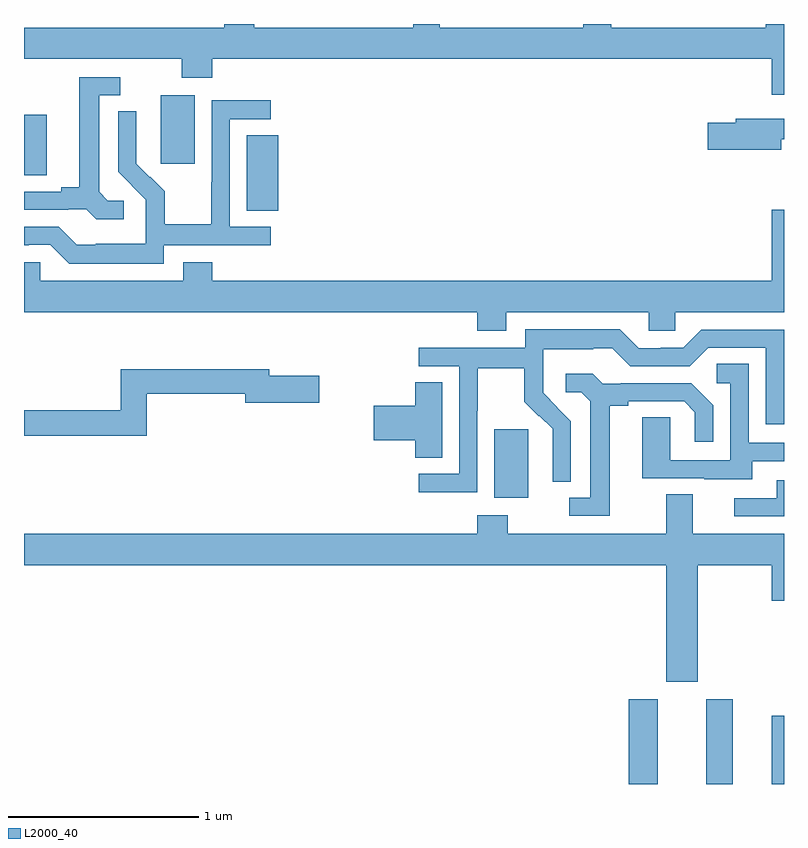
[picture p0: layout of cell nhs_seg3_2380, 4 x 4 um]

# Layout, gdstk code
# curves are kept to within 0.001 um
import gdstk
lib = gdstk.Library(unit=1e-6, precision=1e-09)
def R(c, l, rs):  # rectangles x0, y0, x1, y1
    for r in rs: c.add(gdstk.rectangle(r[:2], r[2:], *l))
def P(c, l, *ps):  # polygons
    for p in ps: c.add(gdstk.Polygon(p, *l))
L2000_40 = (2000, 40)

nhs_seg3_2380 = lib.new_cell('nhs_seg3_2380')
R(nhs_seg3_2380, L2000_40, [(236.183,730.4,236.335,730.846), (236.591,730.4,236.731,730.846), (236.936,730.4,237,730.759), (235.475,731.906,235.654,732.267), (234.173,733.417,234.337,733.814), (233,733.603,233.119,733.923), (233.72,733.665,233.899,734.026)])
P(nhs_seg3_2380, L2000_40, [(237,734.4),(236.904,734.4),(236.904,734.38),(236.091,734.38),(236.091,734.4),(235.943,734.4),(235.943,734.38),(235.189,734.38),(235.189,734.4),(235.049,734.4),(235.049,734.38),(234.213,734.38),(234.213,734.4),(234.053,734.4),(234.053,734.38),(233,734.38),(233,734.216),(233.83,734.216),(233.83,734.117),(233.99,734.117),(233.99,734.216),(236.936,734.216),(236.936,734.028),(237,734.028)],
  [(233.524,733.47),(233.442,733.47),(233.395,733.517),(233.395,734.025),(233.506,734.025),(233.506,734.121),(233.291,734.121),(233.291,733.541),(233.195,733.541),(233.195,733.518),(233,733.518),(233,733.422),(233.234,733.422),(233.234,733.425),(233.328,733.425),(233.38,733.373),(233.524,733.373)],
  [(233.736,733.236),(234.298,733.236),(234.298,733.332),(234.084,733.332),(234.084,733.899),(234.298,733.899),(234.298,733.998),(233.988,733.998),(233.988,733.568),(233.986,733.568),(233.986,733.345),(233.741,733.345),(233.741,733.519),(233.664,733.596),(233.661,733.593),(233.591,733.664),(233.592,733.94),(233.496,733.94),(233.496,733.622),(233.642,733.474),(233.642,733.377),(233.64,733.377),(233.64,733.243),(233.377,733.243),(233.377,733.239),(233.277,733.239),(233.184,733.332),(233,733.332),(233,733.236),(233.024,733.236),(233.024,733.239),(233.139,733.239),(233.239,733.139),(233.736,733.139)],
  [(236.986,733.794),(237,733.794),(237,733.902),(236.747,733.902),(236.747,733.881),(236.598,733.881),(236.598,733.739),(236.986,733.739)],
  [(235.537,732.884),(236.289,732.884),(236.289,732.786),(236.427,732.786),(236.427,732.884),(237,732.884),(237,733.423),(236.936,733.423),(236.936,733.048),(233.99,733.048),(233.99,733.147),(233.837,733.147),(233.837,733.048),(233.085,733.048),(233.085,733.146),(233,733.146),(233,732.884),(235.385,732.884),(235.385,732.785),(235.537,732.785)],
  [(235.386,732.364),(235.389,732.364),(235.389,732.588),(235.633,732.588),(235.633,732.413),(235.71,732.336),(235.713,732.339),(235.784,732.269),(235.784,732.146),(235.782,732.146),(235.782,731.992),(235.878,731.992),(235.878,732.31),(235.732,732.458),(235.732,732.555),(235.734,732.555),(235.734,732.689),(235.997,732.689),(235.997,732.693),(236.097,732.693),(236.19,732.6),(236.505,732.6),(236.601,732.696),(236.904,732.696),(236.904,732.294),(237,732.294),(237,732.792),(236.565,732.792),(236.469,732.696),(236.351,732.696),(236.351,732.693),(236.235,732.693),(236.135,732.793),(235.638,732.793),(235.638,732.696),(235.077,732.696),(235.077,732.6),(235.29,732.6),(235.29,732.033),(235.077,732.033),(235.077,731.935),(235.386,731.935)],
  [(236.833,732.099),(237,732.099),(237,732.195),(236.814,732.195),(236.814,732.611),(236.646,732.611),(236.646,732.51),(236.718,732.51),(236.718,732.105),(236.4,732.105),(236.4,732.329),(236.255,732.329),(236.255,732.009),(236.579,732.009),(236.579,732.005),(236.833,732.005)],
  [(233.645,732.454),(234.164,732.454),(234.164,732.407),(234.553,732.407),(234.553,732.549),(234.292,732.549),(234.292,732.583),(233.509,732.583),(233.509,732.368),(233,732.368),(233,732.232),(233.645,732.232)],
  [(236.083,732.392),(236.179,732.392),(236.179,732.414),(236.474,732.414),(236.531,732.357),(236.531,732.201),(236.628,732.201),(236.628,732.394),(236.512,732.51),(236.14,732.51),(236.14,732.507),(236.046,732.507),(235.994,732.559),(235.851,732.559),(235.851,732.462),(235.932,732.462),(235.979,732.415),(235.979,731.907),(235.869,731.907),(235.869,731.811),(236.083,731.811)],
  [(235.201,732.515),(235.058,732.515),(235.058,732.392),(234.84,732.392),(234.84,732.209),(235.058,732.209),(235.058,732.118),(235.201,732.118)],
  [(237,732),(236.963,732),(236.963,731.904),(236.739,731.904),(236.739,731.808),(237,731.808)],
  [(236.545,731.552),(236.936,731.552),(236.936,731.364),(237,731.364),(237,731.716),(236.521,731.716),(236.521,731.924),(236.381,731.924),(236.381,731.716),(235.545,731.716),(235.545,731.815),(235.385,731.815),(235.385,731.716),(233,731.716),(233,731.552),(236.381,731.552),(236.381,730.938),(236.545,730.938)])

lib.write_gds('nhs_seg3_2380.gds')
